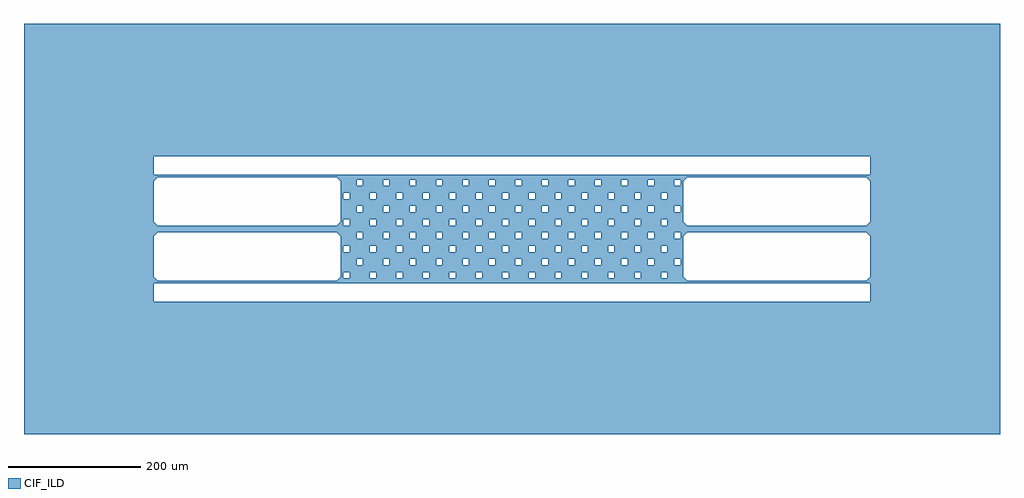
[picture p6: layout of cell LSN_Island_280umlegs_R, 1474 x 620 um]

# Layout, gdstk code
import gdstk
lib = gdstk.Library(unit=1e-6, precision=1e-09)
def R(c, l, rs):  # rectangles x0, y0, x1, y1
    for r in rs: c.add(gdstk.rectangle(r[:2], r[2:], *l))
def P(c, l, *ps):  # polygons
    for p in ps: c.add(gdstk.Polygon(p, *l))
CIF_ILD = (5, 0)

lsn_island_280umlegs_r = lib.new_cell('LSN_Island_280umlegs_R')
R(lsn_island_280umlegs_r, CIF_ILD, [(-737,-310,-541,310), (-541,-310,541,-110), (541,-310,737,310), (-541,-82,-259,-78), (259,-82,541,-78), (-541,-5,-259,5), (259,-5,541,5), (-541,78,-259,82), (259,78,541,82), (-541,110,541,310)])
P(lsn_island_280umlegs_r, CIF_ILD, [(-541,82),(-535,82),(-535,78),(-541,72)],
  [(-541,-1),(-535,-1),(-535,-5),(-541,-11)],
  [(541,1),(535,1),(535,5),(541,11)],
  [(-259,-82),(-265,-82),(-265,-78),(-259,-72)],
  [(541,-82),(535,-82),(535,-78),(541,-72)],
  [(259,82),(265,82),(265,78),(259,72)],
  [(-541,1),(-535,1),(-535,5),(-541,11)],
  [(259,-1),(265,-1),(265,-5),(259,-11)],
  [(-259,82),(-265,82),(-265,78),(-259,72)],
  [(259,-82),(265,-82),(265,-78),(259,-72)],
  [(-259,-1),(-265,-1),(-265,-5),(-259,-11)],
  [(541,82),(535,82),(535,78),(541,72)],
  [(-259,-82),(-254.75,-82),(-254.75,54.75),(-245.25,54.75),(-245.25,45.25),(-254.75,45.25),(-254.75,14.75),(-245.25,14.75),(-245.25,5.25),(-254.75,5.25),(-254.75,-25.25),(-245.25,-25.25),(-245.25,-34.75),(-254.75,-34.75),(-254.75,-65.25),(-245.25,-65.25),(-245.25,-74.75),(-254.75,-74.75),(-254.75,-82),(-234.75,-82),(-234.75,74.75),(-225.25,74.75),(-225.25,65.25),(-234.75,65.25),(-234.75,34.75),(-225.25,34.75),(-225.25,25.25),(-234.75,25.25),(-234.75,-5.25),(-225.25,-5.25),(-225.25,-14.75),(-234.75,-14.75),(-234.75,-45.25),(-225.25,-45.25),(-225.25,-54.75),(-234.75,-54.75),(-234.75,-82),(-214.75,-82),(-214.75,54.75),(-205.25,54.75),(-205.25,45.25),(-214.75,45.25),(-214.75,14.75),(-205.25,14.75),(-205.25,5.25),(-214.75,5.25),(-214.75,-25.25),(-205.25,-25.25),(-205.25,-34.75),(-214.75,-34.75),(-214.75,-65.25),(-205.25,-65.25),(-205.25,-74.75),(-214.75,-74.75),(-214.75,-82),(-194.75,-82),(-194.75,74.75),(-185.25,74.75),(-185.25,65.25),(-194.75,65.25),(-194.75,34.75),(-185.25,34.75),(-185.25,25.25),(-194.75,25.25),(-194.75,-5.25),(-185.25,-5.25),(-185.25,-14.75),(-194.75,-14.75),(-194.75,-45.25),(-185.25,-45.25),(-185.25,-54.75),(-194.75,-54.75),(-194.75,-82),(-174.75,-82),(-174.75,54.75),(-165.25,54.75),(-165.25,45.25),(-174.75,45.25),(-174.75,14.75),(-165.25,14.75),(-165.25,5.25),(-174.75,5.25),(-174.75,-25.25),(-165.25,-25.25),(-165.25,-34.75),(-174.75,-34.75),(-174.75,-65.25),(-165.25,-65.25),(-165.25,-74.75),(-174.75,-74.75),(-174.75,-82),(-154.75,-82),(-154.75,74.75),(-145.25,74.75),(-145.25,65.25),(-154.75,65.25),(-154.75,34.75),(-145.25,34.75),(-145.25,25.25),(-154.75,25.25),(-154.75,-5.25),(-145.25,-5.25),(-145.25,-14.75),(-154.75,-14.75),(-154.75,-45.25),(-145.25,-45.25),(-145.25,-54.75),(-154.75,-54.75),(-154.75,-82),(-134.75,-82),(-134.75,54.75),(-125.25,54.75),(-125.25,45.25),(-134.75,45.25),(-134.75,14.75),(-125.25,14.75),(-125.25,5.25),(-134.75,5.25),(-134.75,-25.25),(-125.25,-25.25),(-125.25,-34.75),(-134.75,-34.75),(-134.75,-65.25),(-125.25,-65.25),(-125.25,-74.75),(-134.75,-74.75),(-134.75,-82),(-114.75,-82),(-114.75,74.75),(-105.25,74.75),(-105.25,65.25),(-114.75,65.25),(-114.75,34.75),(-105.25,34.75),(-105.25,25.25),(-114.75,25.25),(-114.75,-5.25),(-105.25,-5.25),(-105.25,-14.75),(-114.75,-14.75),(-114.75,-45.25),(-105.25,-45.25),(-105.25,-54.75),(-114.75,-54.75),(-114.75,-82),(-94.75,-82),(-94.75,54.75),(-85.25,54.75),(-85.25,45.25),(-94.75,45.25),(-94.75,14.75),(-85.25,14.75),(-85.25,5.25),(-94.75,5.25),(-94.75,-25.25),(-85.25,-25.25),(-85.25,-34.75),(-94.75,-34.75),(-94.75,-65.25),(-85.25,-65.25),(-85.25,-74.75),(-94.75,-74.75),(-94.75,-82),(-74.75,-82),(-74.75,74.75),(-65.25,74.75),(-65.25,65.25),(-74.75,65.25),(-74.75,34.75),(-65.25,34.75),(-65.25,25.25),(-74.75,25.25),(-74.75,-5.25),(-65.25,-5.25),(-65.25,-14.75),(-74.75,-14.75),(-74.75,-45.25),(-65.25,-45.25),(-65.25,-54.75),(-74.75,-54.75),(-74.75,-82),(-54.75,-82),(-54.75,54.75),(-45.25,54.75),(-45.25,45.25),(-54.75,45.25),(-54.75,14.75),(-45.25,14.75),(-45.25,5.25),(-54.75,5.25),(-54.75,-25.25),(-45.25,-25.25),(-45.25,-34.75),(-54.75,-34.75),(-54.75,-65.25),(-45.25,-65.25),(-45.25,-74.75),(-54.75,-74.75),(-54.75,-82),(-34.75,-82),(-34.75,74.75),(-25.25,74.75),(-25.25,65.25),(-34.75,65.25),(-34.75,34.75),(-25.25,34.75),(-25.25,25.25),(-34.75,25.25),(-34.75,-5.25),(-25.25,-5.25),(-25.25,-14.75),(-34.75,-14.75),(-34.75,-45.25),(-25.25,-45.25),(-25.25,-54.75),(-34.75,-54.75),(-34.75,-82),(-14.75,-82),(-14.75,54.75),(-5.25,54.75),(-5.25,45.25),(-14.75,45.25),(-14.75,14.75),(-5.25,14.75),(-5.25,5.25),(-14.75,5.25),(-14.75,-25.25),(-5.25,-25.25),(-5.25,-34.75),(-14.75,-34.75),(-14.75,-65.25),(-5.25,-65.25),(-5.25,-74.75),(-14.75,-74.75),(-14.75,-82),(5.25,-82),(5.25,74.75),(14.75,74.75),(14.75,65.25),(5.25,65.25),(5.25,34.75),(14.75,34.75),(14.75,25.25),(5.25,25.25),(5.25,-5.25),(14.75,-5.25),(14.75,-14.75),(5.25,-14.75),(5.25,-45.25),(14.75,-45.25),(14.75,-54.75),(5.25,-54.75),(5.25,-82),(25.25,-82),(25.25,54.75),(34.75,54.75),(34.75,45.25),(25.25,45.25),(25.25,14.75),(34.75,14.75),(34.75,5.25),(25.25,5.25),(25.25,-25.25),(34.75,-25.25),(34.75,-34.75),(25.25,-34.75),(25.25,-65.25),(34.75,-65.25),(34.75,-74.75),(25.25,-74.75),(25.25,-82),(45.25,-82),(45.25,74.75),(54.75,74.75),(54.75,65.25),(45.25,65.25),(45.25,34.75),(54.75,34.75),(54.75,25.25),(45.25,25.25),(45.25,-5.25),(54.75,-5.25),(54.75,-14.75),(45.25,-14.75),(45.25,-45.25),(54.75,-45.25),(54.75,-54.75),(45.25,-54.75),(45.25,-82),(65.25,-82),(65.25,54.75),(74.75,54.75),(74.75,45.25),(65.25,45.25),(65.25,14.75),(74.75,14.75),(74.75,5.25),(65.25,5.25),(65.25,-25.25),(74.75,-25.25),(74.75,-34.75),(65.25,-34.75),(65.25,-65.25),(74.75,-65.25),(74.75,-74.75),(65.25,-74.75),(65.25,-82),(85.25,-82),(85.25,74.75),(94.75,74.75),(94.75,65.25),(85.25,65.25),(85.25,34.75),(94.75,34.75),(94.75,25.25),(85.25,25.25),(85.25,-5.25),(94.75,-5.25),(94.75,-14.75),(85.25,-14.75),(85.25,-45.25),(94.75,-45.25),(94.75,-54.75),(85.25,-54.75),(85.25,-82),(105.25,-82),(105.25,54.75),(114.75,54.75),(114.75,45.25),(105.25,45.25),(105.25,14.75),(114.75,14.75),(114.75,5.25),(105.25,5.25),(105.25,-25.25),(114.75,-25.25),(114.75,-34.75),(105.25,-34.75),(105.25,-65.25),(114.75,-65.25),(114.75,-74.75),(105.25,-74.75),(105.25,-82),(125.25,-82),(125.25,74.75),(134.75,74.75),(134.75,65.25),(125.25,65.25),(125.25,34.75),(134.75,34.75),(134.75,25.25),(125.25,25.25),(125.25,-5.25),(134.75,-5.25),(134.75,-14.75),(125.25,-14.75),(125.25,-45.25),(134.75,-45.25),(134.75,-54.75),(125.25,-54.75),(125.25,-82),(145.25,-82),(145.25,54.75),(154.75,54.75),(154.75,45.25),(145.25,45.25),(145.25,14.75),(154.75,14.75),(154.75,5.25),(145.25,5.25),(145.25,-25.25),(154.75,-25.25),(154.75,-34.75),(145.25,-34.75),(145.25,-65.25),(154.75,-65.25),(154.75,-74.75),(145.25,-74.75),(145.25,-82),(165.25,-82),(165.25,74.75),(174.75,74.75),(174.75,65.25),(165.25,65.25),(165.25,34.75),(174.75,34.75),(174.75,25.25),(165.25,25.25),(165.25,-5.25),(174.75,-5.25),(174.75,-14.75),(165.25,-14.75),(165.25,-45.25),(174.75,-45.25),(174.75,-54.75),(165.25,-54.75),(165.25,-82),(185.25,-82),(185.25,54.75),(194.75,54.75),(194.75,45.25),(185.25,45.25),(185.25,14.75),(194.75,14.75),(194.75,5.25),(185.25,5.25),(185.25,-25.25),(194.75,-25.25),(194.75,-34.75),(185.25,-34.75),(185.25,-65.25),(194.75,-65.25),(194.75,-74.75),(185.25,-74.75),(185.25,-82),(205.25,-82),(205.25,74.75),(214.75,74.75),(214.75,65.25),(205.25,65.25),(205.25,34.75),(214.75,34.75),(214.75,25.25),(205.25,25.25),(205.25,-5.25),(214.75,-5.25),(214.75,-14.75),(205.25,-14.75),(205.25,-45.25),(214.75,-45.25),(214.75,-54.75),(205.25,-54.75),(205.25,-82),(225.25,-82),(225.25,54.75),(234.75,54.75),(234.75,45.25),(225.25,45.25),(225.25,14.75),(234.75,14.75),(234.75,5.25),(225.25,5.25),(225.25,-25.25),(234.75,-25.25),(234.75,-34.75),(225.25,-34.75),(225.25,-65.25),(234.75,-65.25),(234.75,-74.75),(225.25,-74.75),(225.25,-82),(245.25,-82),(245.25,74.75),(254.75,74.75),(254.75,65.25),(245.25,65.25),(245.25,34.75),(254.75,34.75),(254.75,25.25),(245.25,25.25),(245.25,-5.25),(254.75,-5.25),(254.75,-14.75),(245.25,-14.75),(245.25,-45.25),(254.75,-45.25),(254.75,-54.75),(245.25,-54.75),(245.25,-82),(259,-82),(259,82),(-259,82)],
  [(-259,1),(-265,1),(-265,5),(-259,11)],
  [(-541,-82),(-535,-82),(-535,-78),(-541,-72)],
  [(259,1),(265,1),(265,5),(259,11)],
  [(541,-1),(535,-1),(535,-5),(541,-11)])

lib.write_gds('LSN_Island_280umlegs_R.gds')
